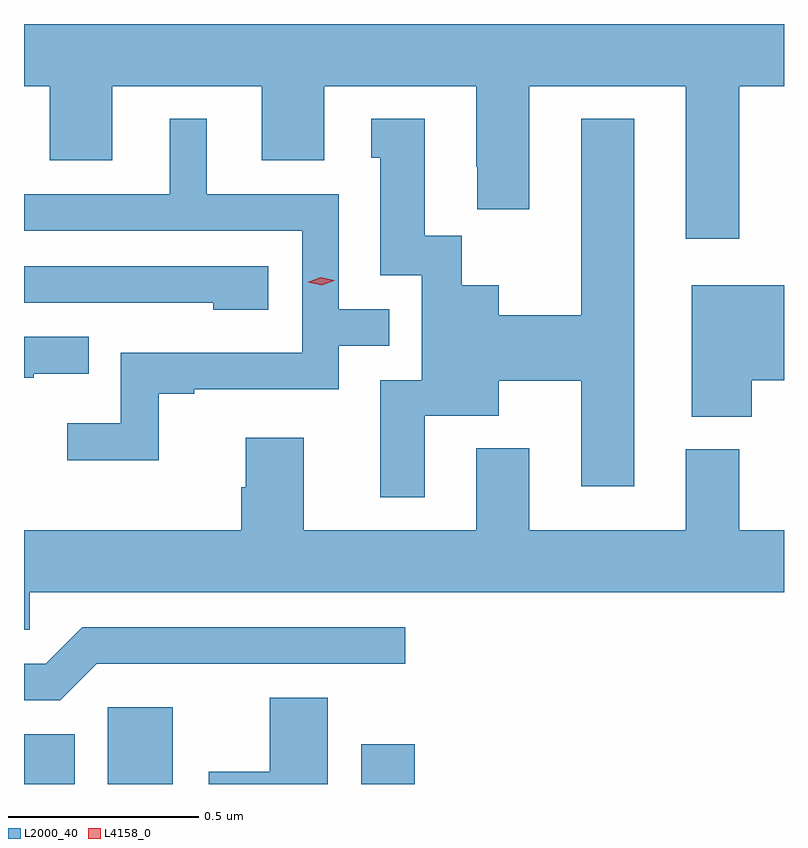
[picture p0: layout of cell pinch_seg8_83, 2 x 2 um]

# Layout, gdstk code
import gdstk
lib = gdstk.Library(unit=1e-6, precision=1e-09)
def R(c, l, rs):  # rectangles x0, y0, x1, y1
    for r in rs: c.add(gdstk.rectangle(r[:2], r[2:], *l))
def P(c, l, *ps):  # polygons
    for p in ps: c.add(gdstk.Polygon(p, *l))
L2000_40 = (2000, 40)
L4158_0 = (4158, 0)

pinch_seg8_83 = lib.new_cell('pinch_seg8_83')
R(pinch_seg8_83, L2000_40, [(1116.411,1106.672,1116.544,1106.803), (1116.632,1106.672,1116.802,1106.874), (1117.298,1106.672,1117.439,1106.776)])
P(pinch_seg8_83, L2000_40, [(1118.293,1108.508),(1118.411,1108.508),(1118.411,1108.672),(1116.411,1108.672),(1116.411,1108.508),(1116.479,1108.508),(1116.479,1108.314),(1116.643,1108.314),(1116.643,1108.508),(1117.037,1108.508),(1117.037,1108.314),(1117.201,1108.314),(1117.201,1108.508),(1117.601,1108.508),(1117.601,1108.297),(1117.604,1108.297),(1117.604,1108.185),(1117.741,1108.185),(1117.741,1108.508),(1118.153,1108.508),(1118.153,1108.107),(1118.293,1108.107)],
  [(1116.765,1107.699),(1116.859,1107.699),(1116.859,1107.711),(1117.239,1107.711),(1117.239,1107.825),(1117.372,1107.825),(1117.372,1107.921),(1117.239,1107.921),(1117.239,1108.224),(1116.892,1108.224),(1116.892,1108.423),(1116.794,1108.423),(1116.794,1108.224),(1116.411,1108.224),(1116.411,1108.128),(1117.143,1108.128),(1117.143,1107.807),(1116.666,1107.807),(1116.666,1107.622),(1116.525,1107.622),(1116.525,1107.524),(1116.765,1107.524)],
  [(1117.465,1107.641),(1117.66,1107.641),(1117.66,1107.733),(1117.877,1107.733),(1117.877,1107.456),(1118.017,1107.456),(1118.017,1108.423),(1117.877,1108.423),(1117.877,1107.905),(1117.66,1107.905),(1117.66,1107.985),(1117.563,1107.985),(1117.563,1108.115),(1117.465,1108.115),(1117.465,1108.423),(1117.325,1108.423),(1117.325,1108.32),(1117.349,1108.32),(1117.349,1108.011),(1117.458,1108.011),(1117.458,1107.735),(1117.349,1107.735),(1117.349,1107.426),(1117.465,1107.426)],
  [(1117.054,1108.035),(1116.411,1108.035),(1116.411,1107.939),(1116.673,1107.939),(1116.673,1107.938),(1116.909,1107.938),(1116.909,1107.92),(1117.054,1107.92)],
  [(1118.326,1107.734),(1118.411,1107.734),(1118.411,1107.985),(1118.168,1107.985),(1118.168,1107.638),(1118.326,1107.638)],
  [(1116.437,1107.752),(1116.581,1107.752),(1116.581,1107.849),(1116.411,1107.849),(1116.411,1107.741),(1116.437,1107.741)],
  [(1116.426,1107.176),(1118.411,1107.176),(1118.411,1107.34),(1118.293,1107.34),(1118.293,1107.553),(1118.153,1107.553),(1118.153,1107.34),(1117.741,1107.34),(1117.741,1107.556),(1117.601,1107.556),(1117.601,1107.34),(1117.147,1107.34),(1117.147,1107.583),(1116.995,1107.583),(1116.995,1107.453),(1116.983,1107.453),(1116.983,1107.34),(1116.411,1107.34),(1116.411,1107.078),(1116.426,1107.078)],
  [(1116.603,1106.988),(1117.414,1106.988),(1117.414,1107.084),(1116.564,1107.084),(1116.468,1106.988),(1116.411,1106.988),(1116.411,1106.892),(1116.507,1106.892)],
  [(1117.21,1106.899),(1117.058,1106.899),(1117.058,1106.704),(1116.897,1106.704),(1116.897,1106.672),(1117.21,1106.672)])
P(pinch_seg8_83, L4158_0, [(1117.194,1107.985),(1117.158,1107.992),(1117.158,1107.992),(1117.158,1107.993),(1117.192,1108.005),(1117.227,1107.998),(1117.227,1107.998),(1117.227,1107.997)])

lib.write_gds('pinch_seg8_83.gds')
